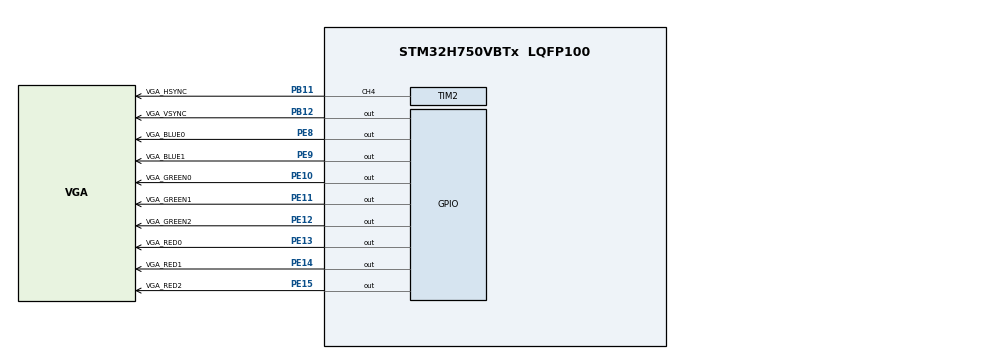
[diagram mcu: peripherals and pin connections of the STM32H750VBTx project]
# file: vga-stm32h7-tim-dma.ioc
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CORTEX_M7.CPU_DCache=Enabled
CORTEX_M7.CPU_ICache=Enabled
Dma.Request0=TIM1_UP
Dma.TIM1_UP.0.Direction=DMA_MEMORY_TO_PERIPH
Dma.TIM1_UP.0.EventEnable=DISABLE
Dma.TIM1_UP.0.FIFOMode=DMA_FIFOMODE_ENABLE
Dma.TIM1_UP.0.FIFOThreshold=DMA_FIFO_THRESHOLD_1QUARTERFULL
Dma.TIM1_UP.0.Instance=DMA2_Stream5
Dma.TIM1_UP.0.MemBurst=DMA_MBURST_SINGLE
Dma.TIM1_UP.0.MemDataAlignment=DMA_MDATAALIGN_BYTE
Dma.TIM1_UP.0.MemInc=DMA_MINC_ENABLE
Dma.TIM1_UP.0.Mode=DMA_NORMAL
Dma.TIM1_UP.0.PeriphBurst=DMA_PBURST_SINGLE
Dma.TIM1_UP.0.PeriphDataAlignment=DMA_PDATAALIGN_BYTE
Dma.TIM1_UP.0.PeriphInc=DMA_PINC_DISABLE
Dma.TIM1_UP.0.Polarity=HAL_DMAMUX_REQ_GEN_RISING
Dma.TIM1_UP.0.Priority=DMA_PRIORITY_VERY_HIGH
Dma.TIM1_UP.0.RequestNumber=1
Dma.TIM1_UP.0.SignalID=NONE
Dma.TIM1_UP.0.SyncEnable=DISABLE
Dma.TIM1_UP.0.SyncPolarity=HAL_DMAMUX_SYNC_NO_EVENT
Dma.TIM1_UP.0.SyncRequestNumber=1
Dma.TIM1_UP.0.SyncSignalID=NONE
Mcu.Family=STM32H7
Mcu.Name=STM32H750VBTx
Mcu.Package=LQFP100
NVIC.DMA2_Stream5_IRQn=true\:0\:0\:false\:false\:true\:false\:true
NVIC.PriorityGroup=NVIC_PRIORITYGROUP_4
NVIC.TIM2_IRQn=true\:0\:0\:false\:false\:true\:true\:true
PA13\ (JTMS/SWDIO).Mode=Serial_Wire
PA13\ (JTMS/SWDIO).Signal=DEBUG_JTMS-SWDIO
PA14\ (JTCK/SWCLK).Mode=Serial_Wire
PA14\ (JTCK/SWCLK).Signal=DEBUG_JTCK-SWCLK
PB11.GPIO_Label=VGA_HSYNC
PB11.GPIO_Speed=GPIO_SPEED_FREQ_VERY_HIGH
PB11.Signal=S_TIM2_CH4
PB12.GPIO_Label=VGA_VSYNC
PB12.GPIO_Speed=GPIO_SPEED_FREQ_VERY_HIGH
PB12.Signal=GPIO_Output
PC14-OSC32_IN\ (OSC32_IN).Mode=LSE-External-Oscillator
PC14-OSC32_IN\ (OSC32_IN).Signal=RCC_OSC32_IN
PC15-OSC32_OUT\ (OSC32_OUT).Mode=LSE-External-Oscillator
PC15-OSC32_OUT\ (OSC32_OUT).Signal=RCC_OSC32_OUT
PE10.GPIO_Label=VGA_GREEN0
PE10.GPIO_Speed=GPIO_SPEED_FREQ_VERY_HIGH
PE10.Signal=GPIO_Output
PE11.GPIO_Label=VGA_GREEN1
PE11.GPIO_Speed=GPIO_SPEED_FREQ_VERY_HIGH
PE11.Signal=GPIO_Output
PE12.GPIO_Label=VGA_GREEN2
PE12.GPIO_Speed=GPIO_SPEED_FREQ_VERY_HIGH
PE12.Signal=GPIO_Output
PE13.GPIO_Label=VGA_RED0
PE13.GPIO_Speed=GPIO_SPEED_FREQ_VERY_HIGH
PE13.Signal=GPIO_Output
PE14.GPIO_Label=VGA_RED1
PE14.GPIO_Speed=GPIO_SPEED_FREQ_VERY_HIGH
PE14.Signal=GPIO_Output
PE15.GPIO_Label=VGA_RED2
PE15.GPIO_Speed=GPIO_SPEED_FREQ_VERY_HIGH
PE15.Signal=GPIO_Output
PE8.GPIO_Label=VGA_BLUE0
PE8.GPIO_Speed=GPIO_SPEED_FREQ_VERY_HIGH
PE8.Signal=GPIO_Output
PE9.GPIO_Label=VGA_BLUE1
PE9.GPIO_Speed=GPIO_SPEED_FREQ_VERY_HIGH
PE9.Signal=GPIO_Output
PH0-OSC_IN\ (PH0).Mode=HSE-External-Oscillator
PH0-OSC_IN\ (PH0).Signal=RCC_OSC_IN
PH1-OSC_OUT\ (PH1).Mode=HSE-External-Oscillator
PH1-OSC_OUT\ (PH1).Signal=RCC_OSC_OUT
ProjectManager.HeapSize=0x400
ProjectManager.StackSize=0x800
ProjectManager.TargetToolchain=Makefile
RCC.ADCFreq_Value=200000000
RCC.APB1Freq_Value=120000000
RCC.APB2Freq_Value=120000000
RCC.APB3Freq_Value=120000000
RCC.APB4Freq_Value=120000000
RCC.CSICalibrationValue=16
RCC.CortexFreq_Value=480000000
RCC.D1PPRE=RCC_APB3_DIV2
RCC.D2PPRE1=RCC_APB1_DIV2
RCC.D2PPRE2=RCC_APB2_DIV2
RCC.D3PPRE=RCC_APB4_DIV2
RCC.DIVM1=4
RCC.DIVM2=4
RCC.DIVM3=20
RCC.DIVN1=480
RCC.DIVN2=200
RCC.DIVN3=503
RCC.DIVQ3=4
RCC.DIVR3=8
RCC.FLatency=FLASH_LATENCY_4
RCC.HCLKFreq_Value=240000000
RCC.HPRE=RCC_HCLK_DIV2
RCC.HSE_VALUE=8000000
RCC.HSICalibrationValue=32
RCC.PLL2FRACN=0
RCC.PLL3FRACN=0
RCC.PLLFRACN=0
RCC.PLLSourceVirtual=RCC_PLLSOURCE_HSE
RCC.PWR_Regulator_Voltage_Scale=PWR_REGULATOR_VOLTAGE_SCALE0
RCC.ProductRev=revY
RCC.QSPICLockSelection=RCC_QSPICLKSOURCE_CLKP
RCC.RCC_TIM_PRescaler_Selection=RCC_TIMPRES_DESACTIVATED
RCC.RTCClockSelection=RCC_RTCCLKSOURCE_LSE
RCC.SDMMC1CLockSelection=RCC_SDMMCCLKSOURCE_PLL2
RCC.SYSCLKFreq_VALUE=480000000
RCC.SYSCLKSource=RCC_SYSCLKSOURCE_PLLCLK
RCC.USBCLockSelection=RCC_USBCLKSOURCE_PLL3
RCC.USBFreq_Value=50300000
SH.S_TIM2_CH4.0=TIM2_CH4,PWM Generation4 CH4
TIM1.Period=VGA_TIM1_PERIODE
TIM1.Prescaler=VGA_TIM1_PRESCALE
TIM2.Channel-PWM\ Generation3\ No\ Output=TIM_CHANNEL_3
TIM2.Channel-PWM\ Generation4\ CH4=TIM_CHANNEL_4
TIM2.OCPolarity_3=TIM_OCPOLARITY_HIGH
TIM2.OCPolarity_4=TIM_OCPOLARITY_HIGH
TIM2.Period=VGA_TIM2_HSYNC_PERIODE
TIM2.Prescaler=VGA_TIM2_HSYNC_PRESCALE
TIM2.Pulse-PWM\ Generation3\ No\ Output=VGA_TIM2_HTRIGGER_START
TIM2.Pulse-PWM\ Generation4\ CH4=VGA_TIM2_HSYNC_IMP
VP_RNG_VS_RNG.Mode=RNG_Activate
VP_RTC_VS_RTC_Activate.Mode=RTC_Enabled
VP_TIM1_VS_ClockSourceINT.Mode=Internal
VP_TIM2_VS_ClockSourceINT.Mode=Internal
VP_TIM2_VS_no_output3.Mode=PWM Generation3 No Output
board=custom

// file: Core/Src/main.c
/* USER CODE BEGIN Header */

/*** iso-8859-5 code for support cyrilic symbols ***/

/**
  ******************************************************************************
  * @file           : main.c
  * @brief          : Main program body
  *
  ****************************************************************************
  * @attention
  *
  * <h2><center>&copy; Copyright (c) 2020 STMicroelectronics.
  * All rights reserved.</center></h2>
  *
  * This software component is licensed by ST under BSD 3-Clause license,
  * the "License"; You may not use this file except in compliance with the
  * License. You may obtain a copy of the License at:
  *                        opensource.org/licenses/BSD-3-Clause
  *
  ******************************************************************************
  */
/* USER CODE END Header */
#include "main.h"
#include "dma.h"
#include "rng.h"
#include "rtc.h"
#include "tim.h"
#include "gpio.h"

/* USER CODE BEGIN Includes */

#include "fonts_all_includes.h"
#include "vga_adafruit.h"

//stdc
#include <stdio.h>
#include <string.h>
#include <stdlib.h>
#include <math.h>
#include <errno.h>

#include "icons.h"
#include "Red_Button.h"
#include "Green_button.h"
#include "Yellow_Button.h"

/* USER CODE END Includes */

/* USER CODE BEGIN PD */
#define MAX_INPUT_LEN 1024
/* USER CODE END PD */

/* USER CODE BEGIN PV */

extern uint8_t penguin[];

char buffVal0[12];
char buffVal1[12];
char buffVal2[12];
char buffVal3[12];
char buffVal4[12];
char buffVal5[12];
char buffVal6[12];
char buffVal7[12];

uint16_t Value0;
uint16_t Value1;
uint16_t Value2;
uint16_t Value3;
uint16_t Value4;
uint16_t Value5;
uint16_t Value6;
uint16_t Value7;

char input_buff[MAX_INPUT_LEN] = {};

uint32_t wait_time = 0;
uint32_t start_time = 0;
// uint32_t interpreter_data_len = 0;

/* USER CODE END PV */

void SystemClock_Config(void);
/* USER CODE BEGIN PFP */
char UART_Check_for_string(char * ptr, uint32_t max_size);
/* USER CODE END PFP */

/* USER CODE BEGIN 0 */
#include "stdlib.h"
uint16_t rand16(void)
{
  return (uint16_t)(READ_REG(RNG->DR));
}

#define sinus_points 255
#define minimal_amplitude 5

float PI = 3.14159;
float sin_table_a[sinus_points];
float sin_table_b[sinus_points];
float sin_table_c[sinus_points];

void sin_init(uint16_t i)
{
  sin_table_c[(i+(sinus_points/3*1)) & (sinus_points)]=
  sin_table_b[(i+(sinus_points/3*2)) & (sinus_points)]=
  sin_table_a[(i+(sinus_points/3*3)) & (sinus_points)]=
  ((sin((float) i*(2*PI/sinus_points)))*(sinus_points/2));
}

void sinusoide_scroll(void)
{
  for(uint16_t shift=80 ; shift<(UB_VGA_Get_Y()-128); shift++)
  {
    for(uint16_t i = 0; i<UB_VGA_Get_X() ; i++)
    {
      static volatile uint16_t x;
      x = i & sinus_points;
      if(x>=sinus_points) x-=sinus_points;
        writePixel(i, (sin_table_a[x]/2)+shift, VGA_COL_BLUE);
        writePixel(i, (sin_table_b[x]/2)+shift, VGA_COL_GREEN);
        writePixel(i, (sin_table_c[x]/2)+shift, VGA_COL_RED);
    }
    for(uint32_t i=0;i<5e5;i++) __asm volatile ("nop");
    for(uint16_t i = 0; i<UB_VGA_Get_X() ; i++)
    {
      static volatile uint16_t x;
      x = i & sinus_points;
      if(x>=sinus_points) x-=sinus_points;
      writePixel(i, (sin_table_a[x]/2)+shift, 0);
      writePixel(i, (sin_table_b[x]/2)+shift, 0);
      writePixel(i, (sin_table_c[x]/2)+shift, 0);
    }
  }
  for(uint16_t shift=(UB_VGA_Get_Y()-128) ; shift>80; shift--)
  {
    for(uint16_t i = UB_VGA_Get_X(); i>0 ; i--)
    {
      static volatile uint16_t x;
      x = i & sinus_points;
      if(x>=sinus_points) x-=sinus_points;
      writePixel(i, (sin_table_a[x]/2)+shift, VGA_COL_BLUE);
      writePixel(i, (sin_table_b[x]/2)+shift, VGA_COL_GREEN);
      writePixel(i, (sin_table_c[x]/2)+shift, VGA_COL_RED);
    }
    for(uint32_t i=0;i<5e5;i++) __asm volatile ("nop");
    for(uint16_t i = UB_VGA_Get_X(); i>0 ; i--)
    {
      static volatile uint16_t x;
      x = i & sinus_points;
      if(x>=sinus_points) x-=sinus_points;
      writePixel(i, (sin_table_a[x]/2)+shift, 0);
      writePixel(i, (sin_table_b[x]/2)+shift, 0);
      writePixel(i, (sin_table_c[x]/2)+shift, 0);
    }
  }
}

void draw_dot_grid(void)
{
    for(uint8_t i=0;i<0b11111111;i+=0b11)
    {
      /*
      for(uint16_t x = 20; x<UB_VGA_Get_Y()-16; x+= 4)
          for(uint16_t i = 4; i<UB_VGA_Get_X()-16; i+=32)writePixel(i, x, VGA_COL_BLUE);
      for(uint16_t x = 10; x<UB_VGA_Get_Y()-16; x+=32)
          for(uint16_t i = 4; i<UB_VGA_Get_X()-16; i+= 4)writePixel(i, x, VGA_COL_GREEN);
      */
      for(uint16_t x = 16;x<UB_VGA_Get_Y()-15;x+= 8)
        for(uint16_t i = 16; i<UB_VGA_Get_X()-15; i+=32) fillRect(i,x,1,1,VGA_COL_BLUE);
      for(uint16_t x = 16;x<UB_VGA_Get_Y()-15;x+=32)
        for(uint16_t i = 16; i<UB_VGA_Get_X()-15; i+=8) fillRect(i,x,1,1,VGA_COL_GREEN);
    }
}

void draw_dot_grid2(void)
{
  for(uint16_t i = 5; i<UB_VGA_Get_Y()-5; i+=30)  { draw_dot_line(5, i, UB_VGA_Get_X()-5, i, 0xff); }
  for(uint16_t i = 5; i<UB_VGA_Get_X()-5; i+=30)  { draw_dot_line(i, 5, i, UB_VGA_Get_Y()-5, 0xff); }
}

void draw_grid(void)
{
  for(uint16_t i = 5; i<UB_VGA_Get_Y()-5; i+=30)  { writeLine(5, i, UB_VGA_Get_X()-5, i, rand16()); }
  for(uint16_t i = 5; i<UB_VGA_Get_X()-5; i+=30)  { writeLine(i, 5, i, UB_VGA_Get_Y()-5, rand16()); }
}

void draw_pixels(void)
{
  for(uint32_t i=0;i<1e5;i++)
  {
    writePixel(rand16()%UB_VGA_Get_X(), rand16()%UB_VGA_Get_Y(), 0);
    if(i%100) writePixel(rand16()%UB_VGA_Get_X(), rand16()%UB_VGA_Get_Y(), rand16());
    // for(uint32_t i=0;i<10;i++) __asm volatile ("nop");
  }
}

void analog_read(void)
{
//   Value1 = adc_get_value(ADC1, GPIOA, 0x1UL << 1);
//   Value2 = adc_get_value(ADC1, GPIOA, 0x1UL << 2);
//   Value3 = adc_get_value(ADC1, GPIOA, 0x1UL << 3);
//   Value4 = adc_get_value(ADC1, GPIOA, 0x1UL << 4);
//   Value5 = adc_get_value(ADC1, GPIOA, 0x1UL << 5);
//   Value6 = adc_get_value(ADC1, GPIOA, 0x1UL << 6);
//   Value7 = adc_get_value(ADC1, GPIOA, 0x1UL << 7);
//
//   sprintf(buffVal1,"A1 %3d,\n",Value1);
//   sprintf(buffVal2,"A= %3d,\n",'A');
//   sprintf(buffVal3,"A3 %3d,\n",Value3);
//   sprintf(buffVal4,"A4 %3d,\n",Value4);
//   sprintf(buffVal5,"A5 %3d,\n",Value5);
//   sprintf(buffVal6,"A6 %3d,\n",Value6);
//   sprintf(buffVal7,"A7 %3d,\n",Value7);
//
//   LCD_Font(15,   20, "read adc channel:",  &AvrileSerif_Regular12pt8b,  1, VGA_COL_RED,  0);
//
//   // LCD_Font(45,   60, buffVal1, &ArialMT12pt8b,  1, VGA_COL_RED,    0);
//   LCD_Font(15,   50, buffVal2, &sofia6pt7b,  1, VGA_COL_GREEN,  0);
//   LCD_Font(15,   70, buffVal3, &sofia8pt7b,  1, VGA_COL_CYAN, 0);
//   LCD_Font(15,   90, buffVal4, &sofia10pt7b, 1, VGA_COL_CYAN, 0);
//   LCD_Font(15,  110, buffVal5, &sofia12pt7b, 1, VGA_COL_CYAN, 0);
//   LCD_Font(15,  135, buffVal6, &sofia14pt7b, 1, VGA_COL_CYAN, 0);
//   LCD_Font(15,  165, buffVal7, &sofia16pt7b, 1, VGA_COL_CYAN, 0);
//
//   for(uint32_t i=0;i<1e7;i++) __asm volatile ("nop");
}

/* USER CODE END 0 */

int main(void)
{

  /* Enable I-Cache---------------------------------------------------------*/
  SCB_EnableICache();

  /* Enable D-Cache---------------------------------------------------------*/
  SCB_EnableDCache();

  /* MCU Configuration--------------------------------------------------------*/

  /* Reset of all peripherals, Initializes the Flash interface and the Systick. */

  LL_APB4_GRP1_EnableClock(LL_APB4_GRP1_PERIPH_SYSCFG);

  NVIC_SetPriorityGrouping(NVIC_PRIORITYGROUP_4);

  /* System interrupt init*/

  /* USER CODE BEGIN Init */
  UB_VGA_ll_Init();
  /* USER CODE END Init */

  /* Configure the system clock */
  SystemClock_Config();

  /* Initialize all configured peripherals */
  MX_GPIO_Init();
  MX_DMA_Init();
  MX_RTC_Init();
  MX_TIM1_Init();
  MX_TIM2_Init();
  MX_RNG_Init();
  /* USER CODE BEGIN 2 */

  // Init VGA-Screen
  UB_VGA_Screen_Init(800,600);

  printf("\rstarted display\r\n");

  /* USER CODE END 2 */

  /* Infinite loop */
  /* USER CODE BEGIN WHILE */

  for (uint32_t i=0; i<sinus_points; i++)
  {
    sin_init(i);
  }

  while (1)
  {
    // fillRect(0, 0, 320, 240, 0);
    // for(uint32_t i=0;i<50;i++) analog_read();

    fillRect(0, 0, UB_VGA_Get_X(), UB_VGA_Get_Y(), 0);
    for(uint32_t i = 0; i < 2; i++) sinusoide_scroll();

    fillRect(0, 0, UB_VGA_Get_X(), UB_VGA_Get_Y(), 0);
    draw_dot_grid();
    for(uint32_t i=0;i<4e8;i++) __asm volatile ("nop");

    fillRect(0, 0, UB_VGA_Get_X(), UB_VGA_Get_Y(), 0);
    draw_dot_grid2();
    for(uint32_t i=0;i<4e8;i++) __asm volatile ("nop");

    fillRect(0, 0, UB_VGA_Get_X(), UB_VGA_Get_Y(), 0);
    draw_grid();
    for(uint32_t i=0;i<4e8;i++) __asm volatile ("nop");

    fillRect(0, 0, UB_VGA_Get_X(), UB_VGA_Get_Y(), 0);
    draw_pixels();
    for(uint32_t i=0;i<4e8;i++) __asm volatile ("nop");

    fillRect(0, 0, UB_VGA_Get_X(), UB_VGA_Get_Y(), 0);
    for(uint32_t i = 0; i < 1e3; i++)
    {
      fillRoundRect(rand16()%UB_VGA_Get_X(), rand16()%UB_VGA_Get_Y(), 35, 25, 10, rand16());
    } for(uint32_t i=0;i<4e8;i++) __asm volatile ("nop");

    fillRect(0, 0, UB_VGA_Get_X(), UB_VGA_Get_Y(), 0x0);

    setTextSize(1);
    UG_PutString(45,  10,  "font_Arial_13", VGA_COL_CYAN,0,    &font_Arial_13X14);  // , 1, rand16(),0);
    UG_PutString(45,  25,  "font_Arial_15", VGA_COL_RED,0,     &font_Arial_15X16);  // , 1, rand16(),0);
    UG_PutString(45,  44,  "font_Arial_19", VGA_COL_GREEN,0,   &font_Arial_19X19);  // , 1, rand16(),0);
    UG_PutString(45,  70,  "font_Arial_23", VGA_COL_BLUE,0,    &font_Arial_23X23);  // , 1, rand16(),0);
    UG_PutString(45,  100, "font_Arial_27", VGA_COL_MAGENTA,0, &font_Arial_27X27);  // , 1, rand16(),0);
    UG_PutString(45,  136, "font_Arial_31", VGA_COL_YELLOW,0,  &font_Arial_31X30);   // , 1, rand16(),0);
    UG_PutString(45,  180, "font_Arial_37", VGA_COL_CYAN,0,    &font_Arial_37X38);   // , 1, rand16(),0);

    for(uint32_t i=0;i<2e9;i++) __asm volatile ("nop");

    fillRect(0, 0, UB_VGA_Get_X(), UB_VGA_Get_Y(), 0x0);
    drawRGBBitmap_U16(55, 55, penguin, 40, 40);
    drawRGBBitmap_U16(155,55, icon_40x40, 40, 40);
    for(uint32_t i=0;i<4e8;i++) __asm volatile ("nop");

    fillRect(0, 0, UB_VGA_Get_X(), UB_VGA_Get_Y(), 0x0);
    drawRGBBitmap_U16(22, 34,   (uint16_t*)Green_button, 120, 72);
    drawRGBBitmap_U16(22, 130,  (uint16_t*)Yellow_Button, 80, 40);
    drawRGBBitmap_U16(174, 34,  (uint16_t*)Green_button, 120, 72);
    drawXBitmap_U8(174, 130, (uint16_t*)Red_Button,    80, 40,0x55);
    for(uint32_t i=0;i<4e8;i++) __asm volatile ("nop");

    /* USER CODE END WHILE */

  }
}

void SystemClock_Config(void)
{
  LL_FLASH_SetLatency(LL_FLASH_LATENCY_4);
  while(LL_FLASH_GetLatency()!= LL_FLASH_LATENCY_4)
  {
  }
  LL_PWR_ConfigSupply(LL_PWR_LDO_SUPPLY);
  LL_PWR_SetRegulVoltageScaling(LL_PWR_REGU_VOLTAGE_SCALE0);
  LL_RCC_HSE_Enable();

   /* Wait till HSE is ready */
  while(LL_RCC_HSE_IsReady() != 1)
  {

  }
  LL_RCC_HSI48_Enable();

   /* Wait till HSI48 is ready */
  while(LL_RCC_HSI48_IsReady() != 1)
  {

  }
  LL_PWR_EnableBkUpAccess();
  LL_RCC_LSE_SetDriveCapability(LL_RCC_LSEDRIVE_LOW);
  LL_RCC_LSE_Enable();

   /* Wait till LSE is ready */
  while(LL_RCC_LSE_IsReady() != 1)
  {

  }
  LL_RCC_PLL_SetSource(LL_RCC_PLLSOURCE_HSE);
  LL_RCC_PLL1P_Enable();
  LL_RCC_PLL1R_Enable();
  LL_RCC_PLL1_SetVCOInputRange(LL_RCC_PLLINPUTRANGE_2_4);
  LL_RCC_PLL1_SetVCOOutputRange(LL_RCC_PLLVCORANGE_WIDE);
  LL_RCC_PLL1_SetM(4);
  LL_RCC_PLL1_SetN(480);
  LL_RCC_PLL1_SetP(2);
  LL_RCC_PLL1_SetQ(2);
  LL_RCC_PLL1_SetR(2);
  LL_RCC_PLL1_Enable();

   /* Wait till PLL is ready */
  while(LL_RCC_PLL1_IsReady() != 1)
  {
  }

   /* Intermediate AHB prescaler 2 when target frequency clock is higher than 80 MHz */
   LL_RCC_SetAHBPrescaler(LL_RCC_AHB_DIV_2);

  LL_RCC_SetSysClkSource(LL_RCC_SYS_CLKSOURCE_PLL1);
  LL_RCC_SetSysPrescaler(LL_RCC_SYSCLK_DIV_1);
  LL_RCC_SetAHBPrescaler(LL_RCC_AHB_DIV_2);
  LL_RCC_SetAPB1Prescaler(LL_RCC_APB1_DIV_2);
  LL_RCC_SetAPB2Prescaler(LL_RCC_APB2_DIV_2);
  LL_RCC_SetAPB3Prescaler(LL_RCC_APB3_DIV_2);
  LL_RCC_SetAPB4Prescaler(LL_RCC_APB4_DIV_2);

  LL_Init1msTick(480000000);

  LL_SetSystemCoreClock(480000000);
}

void Error_Handler(void)
{
}

/************************ (C) COPYRIGHT STMicroelectronics *****END OF FILE****/
